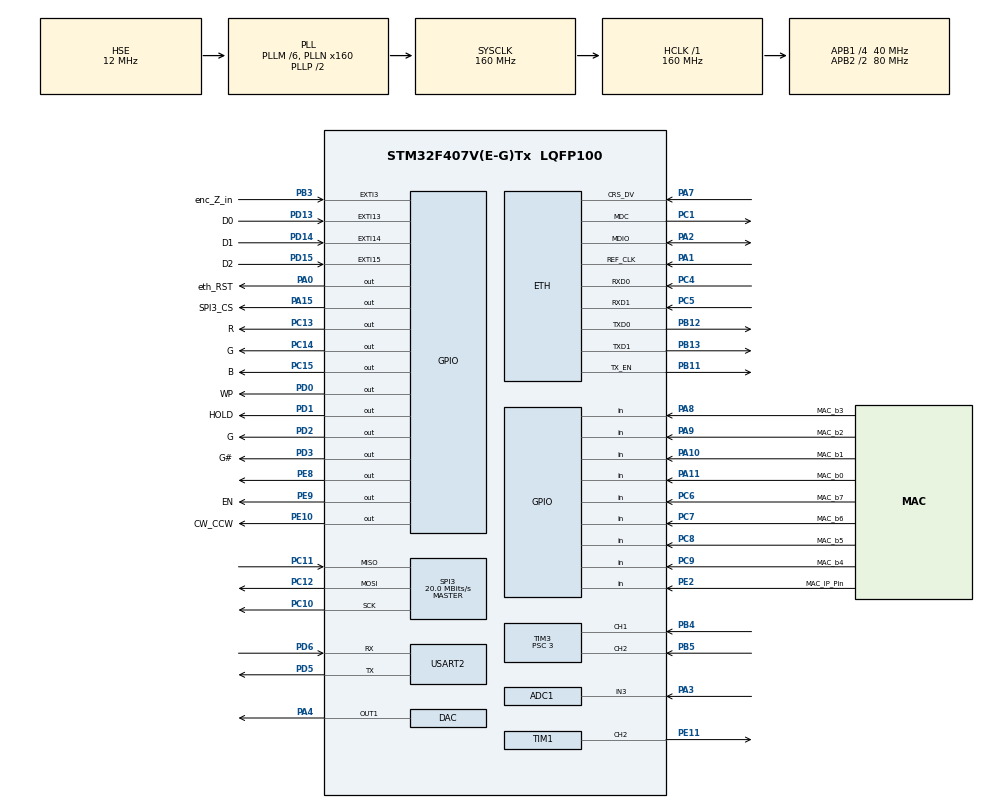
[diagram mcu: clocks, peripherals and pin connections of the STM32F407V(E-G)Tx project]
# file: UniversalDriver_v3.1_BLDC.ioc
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ADC1.Channel-0\#ChannelRegularConversion=ADC_CHANNEL_3
ADC1.NbrOfConversionFlag=1
ADC1.Rank-0\#ChannelRegularConversion=1
ADC1.SamplingTime-0\#ChannelRegularConversion=ADC_SAMPLETIME_3CYCLES
ADC1.master=1
ETH.MACAddr=44\:84\:23\:84\:44\:77
ETH.MediaInterface=HAL_ETH_RMII_MODE
ETH.PhyAddress=0
FREERTOS.Tasks01=mainTask,0,512,MainTask,Default,NULL,Dynamic,NULL,NULL;Motor_pool,0,256,motor_pool,Default,NULL,Dynamic,NULL,NULL;ledTask,0,512,LedTask,Default,NULL,Dynamic,NULL,NULL
FREERTOS.configTOTAL_HEAP_SIZE=20000
FREERTOS.configUSE_NEWLIB_REENTRANT=1
LWIP.BSP.number=1
LWIP.LWIP_DBG_MIN_LEVEL=LWIP_DBG_LEVEL_ALL
LWIP.LWIP_DHCP=0
LWIP.LWIP_DNS=1
LWIP.TCP_DEBUG=LWIP_DBG_OFF
LWIP.TCP_INPUT_DEBUG=LWIP_DBG_OFF
LWIP.Version=v2.1.2_Cube
LWIP0.BSP.STBoard=false
LWIP0.BSP.api=BSP_COMPONENT_DRIVER
LWIP0.BSP.component=LAN8742
LWIP0.BSP.instance=LAN8742
LWIP0.BSP.name=Driver_PHY
LWIP0.BSP.semaphore=S_LAN8742
LWIP0.BSP.solution=LAN8742
Mcu.Family=STM32F4
Mcu.Name=STM32F407V(E-G)Tx
Mcu.Package=LQFP100
NVIC.ETH_IRQn=true\:5\:0\:false\:false\:true\:true\:false\:true\:true
NVIC.EXTI3_IRQn=true\:5\:0\:false\:false\:true\:true\:true\:true\:true
NVIC.PriorityGroup=NVIC_PRIORITYGROUP_4
NVIC.TIM3_IRQn=true\:5\:0\:false\:false\:true\:true\:true\:true\:true
NVIC.TIM7_IRQn=true\:15\:0\:false\:false\:true\:false\:false\:true\:true
NVIC.TimeBase=TIM7_IRQn
NVIC.TimeBaseIP=TIM7
PA0-WKUP.GPIO_Label=eth_RST
PA0-WKUP.Signal=GPIO_Output
PA1.GPIO_PuPd=GPIO_NOPULL
PA1.Mode=RMII
PA1.Signal=ETH_REF_CLK
PA10.GPIO_Label=MAC_b1
PA10.GPIO_PuPd=GPIO_PULLDOWN
PA10.Signal=GPIO_Input
PA11.GPIO_Label=MAC_b0
PA11.GPIO_PuPd=GPIO_PULLDOWN
PA11.Signal=GPIO_Input
PA13.Mode=Serial_Wire
PA13.Signal=SYS_JTMS-SWDIO
PA14.Mode=Serial_Wire
PA14.Signal=SYS_JTCK-SWCLK
PA15.GPIO_Label=SPI3_CS
PA15.Signal=GPIO_Output
PA2.GPIO_PuPd=GPIO_NOPULL
PA2.Mode=RMII
PA2.Signal=ETH_MDIO
PA3.Signal=ADCx_IN3
PA4.Signal=COMP_DAC1_group
PA7.GPIO_PuPd=GPIO_NOPULL
PA7.Mode=RMII
PA7.Signal=ETH_CRS_DV
PA8.GPIO_Label=MAC_b3
PA8.GPIO_PuPd=GPIO_PULLDOWN
PA8.Signal=GPIO_Input
PA9.GPIO_Label=MAC_b2
PA9.GPIO_PuPd=GPIO_PULLDOWN
PA9.Signal=GPIO_Input
PB11.GPIO_PuPd=GPIO_NOPULL
PB11.Mode=RMII
PB11.Signal=ETH_TX_EN
PB12.GPIO_PuPd=GPIO_NOPULL
PB12.Mode=RMII
PB12.Signal=ETH_TXD0
PB13.GPIO_PuPd=GPIO_NOPULL
PB13.Mode=RMII
PB13.Signal=ETH_TXD1
PB3.GPIO_Label=enc_Z_in
PB3.Signal=GPXTI3
PB4.Signal=S_TIM3_CH1
PB5.Signal=S_TIM3_CH2
PC1.GPIO_PuPd=GPIO_NOPULL
PC1.Mode=RMII
PC1.Signal=ETH_MDC
PC10.Mode=Full_Duplex_Master
PC10.Signal=SPI3_SCK
PC11.Mode=Full_Duplex_Master
PC11.Signal=SPI3_MISO
PC12.Mode=Full_Duplex_Master
PC12.Signal=SPI3_MOSI
PC13-ANTI_TAMP.GPIO_Label=R
PC13-ANTI_TAMP.Signal=GPIO_Output
PC14-OSC32_IN.GPIO_Label=G
PC14-OSC32_IN.Signal=GPIO_Output
PC15-OSC32_OUT.GPIO_Label=B
PC15-OSC32_OUT.Signal=GPIO_Output
PC4.GPIO_PuPd=GPIO_NOPULL
PC4.Mode=RMII
PC4.Signal=ETH_RXD0
PC5.GPIO_PuPd=GPIO_NOPULL
PC5.Mode=RMII
PC5.Signal=ETH_RXD1
PC6.GPIO_Label=MAC_b7
PC6.GPIO_PuPd=GPIO_PULLDOWN
PC6.Signal=GPIO_Input
PC7.GPIO_Label=MAC_b6
PC7.GPIO_PuPd=GPIO_PULLDOWN
PC7.Signal=GPIO_Input
PC8.GPIO_Label=MAC_b5
PC8.GPIO_PuPd=GPIO_PULLDOWN
PC8.Signal=GPIO_Input
PC9.GPIO_Label=MAC_b4
PC9.GPIO_PuPd=GPIO_PULLDOWN
PC9.Signal=GPIO_Input
PD0.GPIO_Label=WP
PD0.Signal=GPIO_Output
PD1.GPIO_Label=HOLD
PD1.Signal=GPIO_Output
PD13.GPIO_Label=D0
PD13.GPIO_PuPd=GPIO_PULLDOWN
PD13.Signal=GPXTI13
PD14.GPIO_Label=D1
PD14.GPIO_PuPd=GPIO_PULLDOWN
PD14.Signal=GPXTI14
PD15.GPIO_Label=D2
PD15.GPIO_PuPd=GPIO_PULLDOWN
PD15.Signal=GPXTI15
PD2.GPIO_Label=G
PD2.Signal=GPIO_Output
PD3.GPIO_Label=G\#
PD3.Signal=GPIO_Output
PD5.Mode=Asynchronous
PD5.Signal=USART2_TX
PD6.Mode=Asynchronous
PD6.Signal=USART2_RX
PE10.GPIO_Label=CW_CCW
PE10.Signal=GPIO_Output
PE11.Signal=S_TIM1_CH2
PE2.GPIO_Label=MAC_IP_Pin
PE2.GPIO_PuPd=GPIO_PULLUP
PE2.Signal=GPIO_Input
PE8.Signal=GPIO_Output
PE9.GPIO_Label=EN
PE9.Signal=GPIO_Output
PH0-OSC_IN.Mode=HSE-External-Oscillator
PH0-OSC_IN.Signal=RCC_OSC_IN
PH1-OSC_OUT.Mode=HSE-External-Oscillator
PH1-OSC_OUT.Signal=RCC_OSC_OUT
ProjectManager.HeapSize=0x2000
ProjectManager.StackSize=0x4000
ProjectManager.TargetToolchain=STM32CubeIDE
RCC.48MHZClocksFreq_Value=80000000
RCC.AHBFreq_Value=160000000
RCC.APB1CLKDivider=RCC_HCLK_DIV4
RCC.APB1Freq_Value=40000000
RCC.APB1TimFreq_Value=80000000
RCC.APB2CLKDivider=RCC_HCLK_DIV2
RCC.APB2Freq_Value=80000000
RCC.APB2TimFreq_Value=160000000
RCC.CortexFreq_Value=160000000
RCC.HCLKFreq_Value=160000000
RCC.HSE_VALUE=12000000
RCC.HSI_VALUE=16000000
RCC.LSE_VALUE=32768
RCC.PLLM=6
RCC.PLLN=160
RCC.PLLSourceVirtual=RCC_PLLSOURCE_HSE
RCC.SYSCLKFreq_VALUE=160000000
RCC.SYSCLKSource=RCC_SYSCLKSOURCE_PLLCLK
RCC.VCOOutputFreq_Value=320000000
SH.ADCx_IN3.0=ADC1_IN3,IN3
SH.COMP_DAC1_group.0=DAC_OUT1,DAC_OUT1
SH.S_TIM1_CH2.0=TIM1_CH2,Output Compare2 CH2
SH.S_TIM3_CH1.0=TIM3_CH1,Encoder_Interface
SH.S_TIM3_CH2.0=TIM3_CH2,Encoder_Interface
SPI3.CalculateBaudRate=20.0 MBits/s
SPI3.Direction=SPI_DIRECTION_2LINES
SPI3.Mode=SPI_MODE_MASTER
SPI3.VirtualType=VM_MASTER
TIM1.AutoReloadPreload=TIM_AUTORELOAD_PRELOAD_ENABLE
TIM1.Channel-Output\ Compare2\ CH2=TIM_CHANNEL_2
TIM1.OCMode_2=TIM_OCMODE_TOGGLE
TIM1.Period=5000
TIM1.Prescaler=7
TIM1.TIM_MasterOutputTrigger=TIM_TRGO_UPDATE
TIM3.AutoReloadPreload=TIM_AUTORELOAD_PRELOAD_ENABLE
TIM3.CounterMode=TIM_COUNTERMODE_CENTERALIGNED3
TIM3.EncoderMode=TIM_ENCODERMODE_TI12
TIM3.IC1Prescaler=TIM_ICPSC_DIV4
TIM3.IC2Prescaler=TIM_ICPSC_DIV4
TIM3.Prescaler=3
USART2.VirtualMode=VM_ASYNC
VP_FREERTOS_VS_CMSIS_V1.Mode=CMSIS_V1
VP_LWIP_VS_Enabled.Mode=Enabled
VP_SYS_VS_tim7.Mode=TIM7
VP_TIM1_VS_ClockSourceINT.Mode=Internal
board=custom

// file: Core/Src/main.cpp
/* USER CODE BEGIN Header */
/**
 ******************************************************************************
 * @file           : main.c
 * @brief          : Main program body
 ******************************************************************************
 * @attention
 *
 * Copyright (c) 2022 STMicroelectronics.
 * All rights reserved.
 *
 * This software is licensed under terms that can be found in the LICENSE file
 * in the root directory of this software component.
 * If no LICENSE file comes with this software, it is provided AS-IS.
 *
 ******************************************************************************
 */
/* USER CODE END Header */
#include "main.h"
#include "cmsis_os.h"
#include "adc.h"
#include "dac.h"
#include "lwip.h"
#include "spi.h"
#include "tim.h"
#include "usart.h"
#include "gpio.h"

/* USER CODE BEGIN Includes */
#include "motor.hpp"
#include "flash_spi.h"
#include "Delay_us_DWT.h"
#include "LED.h"
/* USER CODE END Includes */

/* USER CODE BEGIN PV */
uint32_t count_tic = 0; //для замеров времени выполнения кода
extern TIM_HandleTypeDef htim3;
//TIM_HandleTypeDef no;

extern_driver ext_drive(&htim1, TIM_CHANNEL_2);
//BLDC_motor BLDC(&htim8, &htim1, &htim2, &htim3);
led LED_IPadr;
led LED_error;
led LED_OSstart;

extern_driver *pMotor;

settings_t settings = {1, 1, 1};
flash mem_spi;
pins_spi_t ChipSelect = {SPI3_CS_GPIO_Port, SPI3_CS_Pin};
pins_spi_t WriteProtect = {WP_GPIO_Port, WP_Pin};
pins_spi_t Hold = {HOLD_GPIO_Port, HOLD_Pin};
bool resetSettings = false;
/* USER CODE END PV */

void SystemClock_Config(void);
void MX_FREERTOS_Init(void);
/* USER CODE BEGIN PFP */
uint8_t ReadStraps();
void finishedBlink();
void timoutBlink();
/* USER CODE END PFP */

/* USER CODE BEGIN 0 */
#ifdef __GNUC__
#define PUTCHAR_PROTOTYPE extern "C" int __io_putchar(int ch)
#else
#define PUTCHAR_PROTOTYPE int fputc(int ch, FILE *f)
#endif
PUTCHAR_PROTOTYPE
{
  HAL_UART_Transmit(&huart2, (uint8_t *)&ch, 1, HAL_MAX_DELAY);
  return ch;
}

/* USER CODE END 0 */

int main(void)
{

  /* MCU Configuration--------------------------------------------------------*/

  /* Reset of all peripherals, Initializes the Flash interface and the Systick. */
  HAL_Init();

  /* Configure the system clock */
  SystemClock_Config();

  /* Initialize all configured peripherals */
  MX_GPIO_Init();
  MX_ADC1_Init();
  MX_SPI3_Init();
  MX_TIM1_Init();
  MX_TIM3_Init();
  MX_DAC_Init();
  MX_USART2_UART_Init();
  /* USER CODE BEGIN 2 */
  printf("Start BLDC. %f\r\n", 0.01);
	//DWT_Init();
	uint8_t endMAC = 0, IP = 100;

	HAL_GPIO_WritePin(eth_RST_GPIO_Port, eth_RST_Pin, GPIO_PIN_RESET);
	HAL_Delay(300);
	HAL_GPIO_WritePin(eth_RST_GPIO_Port, eth_RST_Pin, GPIO_PIN_SET);

	HAL_GPIO_WritePin(HOLD_GPIO_Port, HOLD_Pin, GPIO_PIN_SET);
	HAL_GPIO_WritePin(WP_GPIO_Port, WP_Pin, GPIO_PIN_SET);

	pMotor = &ext_drive;

	mem_spi.Init(&hspi3, 0, ChipSelect, WriteProtect, Hold);
	//HAL_Delay(100);
	mem_spi.Read(&settings);

	// если установлен джампер set
	// заходим в режим настройки
	bool StartSettings = false;
	for (int var = 0; var < 5; ++var) {

		if(HAL_GPIO_ReadPin(MAC_IP_Pin_GPIO_Port, MAC_IP_Pin_Pin)){
			StartSettings = true;
		}else{
			StartSettings = false;
			break;
		}

		HAL_Delay(30);
	}

	//режим настройки
	if(StartSettings){
		StartSettings = false;
		HAL_GPIO_WritePin(G_GPIO_Port, G_Pin, GPIO_PIN_RESET); // PC14 VD3

		endMAC = ReadStraps();
		HAL_Delay(300);
		HAL_GPIO_WritePin(R_GPIO_Port, R_Pin, GPIO_PIN_RESET); // PC13 VD2

		// ждем снятия джампера или таймаута
		int time;
		bool Settings;
		for (time = 0; time < 600; ++time) {

			if(HAL_GPIO_ReadPin(MAC_IP_Pin_GPIO_Port, MAC_IP_Pin_Pin)){
				Settings = true;
			}else{
				Settings = false;
				break;
			}

			HAL_Delay(100);
		}

		if(!Settings){ // if pin settings is 0
			IP = ReadStraps();
			HAL_Delay(300);
			HAL_GPIO_WritePin(B_GPIO_Port, B_Pin, GPIO_PIN_RESET); // PC15 VD4

			if((settings.version != 0) || (settings.version != 0xFF)){ // если считанные настройки не пусты то перезаписываем только изменения

				if(endMAC != 0xFF){
					settings.MAC[5] = endMAC;
				}

				if(IP != 0xFF){
					settings.saveIP.ip[3] = IP;
				}

				mem_spi.W25qxx_EraseSector(0);
				mem_spi.Write(settings);
				mem_spi.Read(&settings);

				finishedBlink();

				// and reset system
				HAL_Delay(500);
				NVIC_SystemReset();
			}else{
				resetSettings = true; // else reset all settings
			}
		}else{

			timoutBlink();
			// and reset system
			HAL_Delay(1000);
			NVIC_SystemReset();
		}

	}

	if((settings.version == 0) || (settings.version == 0xFF) || resetSettings)
		{
			resetSettings = false;

			settings.Direct = dir::CW;
			settings.Mode_Rotation = 1;
			settings.Speed = 100;
			settings.Accel = 10;
			settings.Slowdown = 50;
			//settings.SlowdownDistancePer = 10.0; //10%
			settings.Target = 0;
			settings.TimeOut = 60000;
			settings.DHCPset = true;

			settings.saveIP.ip[0] = 192;
			settings.saveIP.ip[1] = 168;
			settings.saveIP.ip[2] = 1;
			settings.saveIP.ip[3] = IP;

			settings.saveIP.mask[0] = 255;
			settings.saveIP.mask[1] = 255;
			settings.saveIP.mask[2] = 255;
			settings.saveIP.mask[3] = 0;

			settings.saveIP.gateway[0] = 192;
			settings.saveIP.gateway[1] = 168;
			settings.saveIP.gateway[2] = 1;
			settings.saveIP.gateway[3] = 1;

			settings.MAC[0] = 0x44;
			settings.MAC[1] = 0x84;
			settings.MAC[2] = 0x23;
			settings.MAC[3] = 0x84;
			settings.MAC[4] = 0x44;
			settings.MAC[5] = endMAC;

			settings.version = 43;

			mem_spi.W25qxx_EraseSector(0);
			mem_spi.Write(settings);
			mem_spi.Read(&settings);
		}
		//HAL_Delay(500);
		mem_spi.SetUsedInOS(true); // switch to use in OS
  /* USER CODE END 2 */

  /* Call init function for freertos objects (in cmsis_os2.c) */
  MX_FREERTOS_Init();

  /* Start scheduler */
  osKernelStart();

  /* We should never get here as control is now taken by the scheduler */

  /* Infinite loop */
	while (1)
	{

	}
}

void SystemClock_Config(void)
{
  RCC_OscInitTypeDef RCC_OscInitStruct = {0};
  RCC_ClkInitTypeDef RCC_ClkInitStruct = {0};

  /** Configure the main internal regulator output voltage
  */
  __HAL_RCC_PWR_CLK_ENABLE();
  __HAL_PWR_VOLTAGESCALING_CONFIG(PWR_REGULATOR_VOLTAGE_SCALE1);

  /** Initializes the RCC Oscillators according to the specified parameters
  * in the RCC_OscInitTypeDef structure.
  */
  RCC_OscInitStruct.OscillatorType = RCC_OSCILLATORTYPE_HSE;
  RCC_OscInitStruct.HSEState = RCC_HSE_ON;
  RCC_OscInitStruct.PLL.PLLState = RCC_PLL_ON;
  RCC_OscInitStruct.PLL.PLLSource = RCC_PLLSOURCE_HSE;
  RCC_OscInitStruct.PLL.PLLM = 6;
  RCC_OscInitStruct.PLL.PLLN = 160;
  RCC_OscInitStruct.PLL.PLLP = RCC_PLLP_DIV2;
  RCC_OscInitStruct.PLL.PLLQ = 4;
  if (HAL_RCC_OscConfig(&RCC_OscInitStruct) != HAL_OK)
  {
    Error_Handler();
  }

  /** Initializes the CPU, AHB and APB buses clocks
  */
  RCC_ClkInitStruct.ClockType = RCC_CLOCKTYPE_HCLK|RCC_CLOCKTYPE_SYSCLK
                              |RCC_CLOCKTYPE_PCLK1|RCC_CLOCKTYPE_PCLK2;
  RCC_ClkInitStruct.SYSCLKSource = RCC_SYSCLKSOURCE_PLLCLK;
  RCC_ClkInitStruct.AHBCLKDivider = RCC_SYSCLK_DIV1;
  RCC_ClkInitStruct.APB1CLKDivider = RCC_HCLK_DIV4;
  RCC_ClkInitStruct.APB2CLKDivider = RCC_HCLK_DIV2;

  if (HAL_RCC_ClockConfig(&RCC_ClkInitStruct, FLASH_LATENCY_5) != HAL_OK)
  {
    Error_Handler();
  }
}

/* USER CODE BEGIN 4 */
uint8_t ReadStraps(){
	uint8_t tempStraps;

	//Bit0
	if (HAL_GPIO_ReadPin(MAC_b0_GPIO_Port, MAC_b0_Pin)) SET_BIT(tempStraps,1<<0);
	else CLEAR_BIT(tempStraps,1<<0);
	//Bit1
	if (HAL_GPIO_ReadPin(MAC_b1_GPIO_Port, MAC_b1_Pin)) SET_BIT(tempStraps,1<<1);
	else CLEAR_BIT(tempStraps,1<<1);
	//Bit2
	if (HAL_GPIO_ReadPin(MAC_b2_GPIO_Port, MAC_b2_Pin)) SET_BIT(tempStraps,1<<2);
	else CLEAR_BIT(tempStraps,1<<2);
	//Bit3
	if (HAL_GPIO_ReadPin(MAC_b3_GPIO_Port, MAC_b3_Pin)) SET_BIT(tempStraps,1<<3);
	else CLEAR_BIT(tempStraps,1<<3);
	//Bit4
	if (HAL_GPIO_ReadPin(MAC_b4_GPIO_Port, MAC_b4_Pin)) SET_BIT(tempStraps,1<<4);
	else CLEAR_BIT(tempStraps,1<<4);
	//Bit5
	if (HAL_GPIO_ReadPin(MAC_b5_GPIO_Port, MAC_b5_Pin)) SET_BIT(tempStraps,1<<5);
	else CLEAR_BIT(tempStraps,1<<5);
	//Bit6
	if (HAL_GPIO_ReadPin(MAC_b6_GPIO_Port, MAC_b6_Pin)) SET_BIT(tempStraps,1<<6);
	else CLEAR_BIT(tempStraps,1<<6);
	//Bit7
	if (HAL_GPIO_ReadPin(MAC_b7_GPIO_Port, MAC_b7_Pin)) SET_BIT(tempStraps,1<<7);
	else CLEAR_BIT(tempStraps,1<<7);

	return tempStraps;
}

void finishedBlink(){
#define  timeBetween 300

	// finished blink
	HAL_GPIO_WritePin(B_GPIO_Port, B_Pin, GPIO_PIN_SET); // PC15 VD4
	HAL_GPIO_WritePin(R_GPIO_Port, R_Pin, GPIO_PIN_SET); // PC13 VD2
	HAL_GPIO_WritePin(G_GPIO_Port, G_Pin, GPIO_PIN_SET); // PC14 VD3

	for (int var = 0; var < 5; ++var) {
		HAL_GPIO_WritePin(G_GPIO_Port, G_Pin, GPIO_PIN_RESET); // PC14 VD3
		HAL_Delay(timeBetween);
		HAL_GPIO_WritePin(G_GPIO_Port, G_Pin, GPIO_PIN_SET); // PC14 VD3
		HAL_GPIO_WritePin(R_GPIO_Port, R_Pin, GPIO_PIN_RESET); // PC13 VD2
		HAL_Delay(timeBetween);
		HAL_GPIO_WritePin(R_GPIO_Port, R_Pin, GPIO_PIN_SET); // PC13 VD2
		HAL_GPIO_WritePin(B_GPIO_Port, B_Pin, GPIO_PIN_RESET); // PC15 VD4
		HAL_Delay(timeBetween);
		HAL_GPIO_WritePin(B_GPIO_Port, B_Pin, GPIO_PIN_SET); // PC15 VD4

	}

	HAL_GPIO_WritePin(B_GPIO_Port, B_Pin, GPIO_PIN_SET); // PC15 VD4
	HAL_GPIO_WritePin(R_GPIO_Port, R_Pin, GPIO_PIN_SET); // PC13 VD2
	HAL_GPIO_WritePin(G_GPIO_Port, G_Pin, GPIO_PIN_SET); // PC14 VD3
}

void timoutBlink(){
	// timOut plink  all
	HAL_GPIO_WritePin(B_GPIO_Port, B_Pin, GPIO_PIN_RESET); // PC15 VD4
	HAL_GPIO_WritePin(R_GPIO_Port, R_Pin, GPIO_PIN_RESET); // PC13 VD2
	HAL_GPIO_WritePin(G_GPIO_Port, G_Pin, GPIO_PIN_RESET); // PC14 VD3
	for (int var = 0; var < 5; ++var) {
		HAL_GPIO_TogglePin(B_GPIO_Port, B_Pin); // PC15 VD4
		HAL_GPIO_TogglePin(R_GPIO_Port, R_Pin); // PC13 VD2
		HAL_GPIO_TogglePin(G_GPIO_Port, G_Pin); // PC14 VD3
		HAL_Delay(800);
	}
}

void HAL_TIM_IC_CaptureCallback(TIM_HandleTypeDef *htim){
	if(htim->Instance == TIM2){
		pMotor->SensHandler();
	}
	if(htim->Instance == TIM3){
		pMotor->StepsAllHandler(__HAL_TIM_GET_COUNTER(htim));
	}
}
void ledBlink(){
	//LED_rs485.LEDon(0);
}
/* USER CODE END 4 */

void HAL_TIM_PeriodElapsedCallback(TIM_HandleTypeDef *htim)
{
  if (htim->Instance == TIM7) {
    HAL_IncTick();
  }
  /* USER CODE BEGIN Callback 1 */
	if (htim->Instance == TIM4) {
		//HAL_IncTick();
		pMotor->StepsAllHandler(__HAL_TIM_GET_COUNTER(htim));
	}
  /* USER CODE END Callback 1 */
}

void Error_Handler(void)
{
	__disable_irq();
	while (1)
	{
	}
}

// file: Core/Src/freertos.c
/* USER CODE BEGIN Header */
/**
 ******************************************************************************
 * File Name          : freertos.c
 * Description        : Code for freertos applications
 ******************************************************************************
 * @attention
 *
 * Copyright (c) 2022 STMicroelectronics.
 * All rights reserved.
 *
 * This software is licensed under terms that can be found in the LICENSE file
 * in the root directory of this software component.
 * If no LICENSE file comes with this software, it is provided AS-IS.
 *
 ******************************************************************************
 */
/* USER CODE END Header */

#include "FreeRTOS.h"
#include "task.h"
#include "main.h"
#include "cmsis_os.h"

/* USER CODE BEGIN Includes */
#include "motor.hpp"
#include "flash_spi.h"
#include "LED.h"
#include "lwip.h"
using namespace std;
#include <string>
#include "api.h"
#include <iostream>
#include <vector>
#include "device_API.h"
/* USER CODE END Includes */

/* USER CODE BEGIN PTD */
struct mesage_t{
	uint32_t cmd;
	uint32_t addres_var;
	uint32_t data_in;
	bool need_resp;
	bool data_in_is;
	uint32_t data_out;
	string err; // сообщение клиенту об ошибке в сообщении
	bool f_bool; // наличие ошибки в сообшении
};
/* USER CODE END PTD */

/* USER CODE BEGIN Variables */
extern settings_t settings;
extern TIM_HandleTypeDef htim1;
extern DAC_HandleTypeDef hdac;
extern DMA_HandleTypeDef hdma_adc1;
extern ADC_HandleTypeDef hadc1;
//extern SPI_HandleTypeDef hspi3;

//extern step_motor stepper;
extern extern_driver *pMotor;
extern led LED_IPadr;
extern led LED_error;
extern led LED_OSstart;

uint16_t ADC_Data[40];
//переменные для дебага
int Start = false;
bool DR = false;
uint32_t steps = 2000;
dir dir1 = dir::CW;

extern settings_t settings;

// for SPI Flash
extern SPI_HandleTypeDef hspi3;

extern flash mem_spi;

//структуры для netcon
extern struct netif gnetif;

//TCP_IP
string strIP;
string in_str;

//переменные для обшей работы
uint32_t var_sys[100];

/* USER CODE END Variables */
osThreadId mainTaskHandle;
osThreadId Motor_poolHandle;
osThreadId ledTaskHandle;

/* USER CODE BEGIN FunctionPrototypes */
// extern "C"

/* USER CODE END FunctionPrototypes */

void MainTask(void const * argument);
void motor_pool(void const * argument);
void LedTask(void const * argument);

extern void MX_LWIP_Init(void);
void MX_FREERTOS_Init(void); /* (MISRA C 2004 rule 8.1) */

/* GetIdleTaskMemory prototype (linked to static allocation support) */
void vApplicationGetIdleTaskMemory( StaticTask_t **ppxIdleTaskTCBBuffer, StackType_t **ppxIdleTaskStackBuffer, uint32_t *pulIdleTaskStackSize );

/* USER CODE BEGIN GET_IDLE_TASK_MEMORY */
static StaticTask_t xIdleTaskTCBBuffer;
static StackType_t xIdleStack[configMINIMAL_STACK_SIZE];

void vApplicationGetIdleTaskMemory( StaticTask_t **ppxIdleTaskTCBBuffer, StackType_t **ppxIdleTaskStackBuffer, uint32_t *pulIdleTaskStackSize )
{
	*ppxIdleTaskTCBBuffer = &xIdleTaskTCBBuffer;
	*ppxIdleTaskStackBuffer = &xIdleStack[0];
	*pulIdleTaskStackSize = configMINIMAL_STACK_SIZE;
	/* place for user code */
}

/* USER CODE END GET_IDLE_TASK_MEMORY */

void MX_FREERTOS_Init(void) {

  /* Create the thread(s) */
  /* definition and creation of mainTask */
  osThreadDef(mainTask, MainTask, osPriorityNormal, 0, 512);
  mainTaskHandle = osThreadCreate(osThread(mainTask), NULL);

  /* definition and creation of Motor_pool */
  osThreadDef(Motor_pool, motor_pool, osPriorityNormal, 0, 256);
  Motor_poolHandle = osThreadCreate(osThread(Motor_pool), NULL);

  /* definition and creation of ledTask */
  osThreadDef(ledTask, LedTask, osPriorityNormal, 0, 512);
  ledTaskHandle = osThreadCreate(osThread(ledTask), NULL);

}

void MainTask(void const * argument)
{
  /* init code for LWIP */
  MX_LWIP_Init();
  /* USER CODE BEGIN MainTask */

	LED_IPadr.setParameters(mode::ON_OFF);
	while(gnetif.ip_addr.addr == 0){osDelay(1);}	//ждем получение адреса
	LED_IPadr.LEDon();
	osDelay(1000);
	LED_IPadr.LEDoff();
	strIP = ip4addr_ntoa(&gnetif.ip_addr);
	printf("IP: %s\r\n", strIP.c_str());

	//структуры для netcon
	struct netconn *conn;
	struct netconn *newconn;
	struct netbuf *netbuf;
	volatile err_t err, accept_err;
	//ip_addr_t local_ip;
	//ip_addr_t remote_ip;
	void 		*in_data = NULL;
	uint16_t 		data_size = 0;

	//Флаги для разбора сообщения
	string f_cmd("C");
	string f_addr("A");
	string f_datd("D");
	string delim("x");

	/* Infinite loop */
	for(;;)
	{

		conn = netconn_new(NETCONN_TCP);
		if (conn!=NULL)
		{
			err = netconn_bind(conn,NULL,81);//assign port number to connection
			if (err==ERR_OK)
			{
				netconn_listen(conn);//set port to listening mode
				while(1)
				{
					accept_err=netconn_accept(conn,&newconn);//suspend until new connection
					if (accept_err==ERR_OK)
					{
						LED_IPadr.LEDon();
						printf("Connect open\r\n");
						while ((accept_err=netconn_recv(newconn,&netbuf))==ERR_OK)//работаем до тех пор пока клиент не разорвет соеденение
						{

							do
							{
								netbuf_data(netbuf,&in_data,&data_size);//get pointer and data size of the buffer
								in_str.assign((char*)in_data, data_size);//copy in string
								/*-----------------------------------------------------------------------------------------------------------------------------*/
								//printf("Get CMD %s\r\n",in_data);
								printf("Get CMD %s\r\n",in_str.c_str());
								string resp = Command_execution(in_str);

								netconn_write(newconn, resp.c_str(), resp.size(), NETCONN_COPY);

							} while (netbuf_next(netbuf) >= 0);
							netbuf_delete(netbuf);

						}
						netconn_close(newconn);
						netconn_delete(newconn);
						printf("Connect close\r\n");
						LED_IPadr.LEDoff();
					} else netconn_delete(newconn);
					osDelay(20);
				}
			}
		}
		osDelay(1);
	}
  /* USER CODE END MainTask */
}

void motor_pool(void const * argument)
{
  /* USER CODE BEGIN motor_pool */
	pMotor->Init(&settings);
	//pMotor->SetCurrentMax(settings.CurrentMax);
	//pMotor->SetCurrentStop(settings.CurrentStop);
	pMotor->SetPWM_Mode(settings.LowPWR);
	//uint32_t tickcount = osKernelSysTick();// переменная для точной задержки

	/* Infinite loop */
	for(;;)
	{
		//osDelay(1);
		pMotor->AccelHandler();
		//osDelayUntil(&tickcount, 1); // задача будет вызываься ровро через 1 милисекунду
		osDelay(1);
	}
  /* USER CODE END motor_pool */
}

void LedTask(void const * argument)
{
  /* USER CODE BEGIN LedTask */

	LED_IPadr.Init(G_GPIO_Port, G_Pin);
	LED_error.Init(R_GPIO_Port, R_Pin);
	LED_OSstart.Init(B_GPIO_Port, B_Pin);
	LED_OSstart.setParameters(mode::BLINK, 1000, 100);
	LED_OSstart.LEDon();

	//uint32_t tickcount = osKernelSysTick();// переменная для точной задержки
	/* Infinite loop */
	for(;;)
	{
		LED_IPadr.poll();
		LED_error.poll();
		LED_OSstart.poll();

		if(Start == 1){
			Start = 0;
			pMotor->stop();
		}
		if(Start == 2){
			Start = 0;
			pMotor->deceleration();

		}
		if(Start == 3){
			Start = 0;
			pMotor->start();

		}
		if(Start == 4){
			Start = 0;

		}

		osDelay(1);
		//taskYIELD();
		//osDelayUntil(&tickcount, 1); // задача будет вызываься ровро через 1 милисекунду
	}
  /* USER CODE END LedTask */
}

/* USER CODE BEGIN Application */
/******************************************************************************************************
Handlers
 ******************************************************************************************************/

void HAL_GPIO_EXTI_Callback(uint16_t GPIO_Pin){
	//   if((GPIO_Pin == sens1_Pin)|(GPIO_Pin == sens2_Pin)){
	//      pMotor->SensHandler();
	//   }
	//   if((GPIO_Pin == zeroD_Pin) & (DR)){
	//     HAL_TIM_OC_Stop(&htim8, TIM_CHANNEL_4);
	//   }

	if(GPIO_Pin == enc_Z_in_Pin){
		//pMotor->SensHandler();
	}
}
/* USER CODE END Application */
